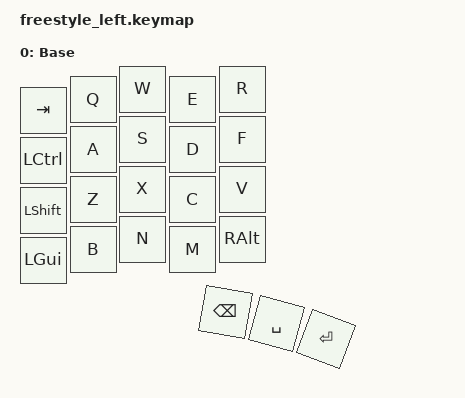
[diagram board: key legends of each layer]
#include <behaviors.dtsi>
#include <dt-bindings/zmk/keys.h>

/ {
    keymap {
        compatible = "zmk,keymap";

        default_layer {
            display-name = "Base";
            bindings = <
                &kp TAB    &kp Q &kp W &kp E &kp R
                &kp LCTRL  &kp A &kp S &kp D &kp F
                &kp LSHFT  &kp Z &kp X &kp C &kp V
                &kp LGUI   &kp B &kp N &kp M &kp RALT

                &kp BSPC   &kp SPACE &kp RET
            >;
        };
    };
};
